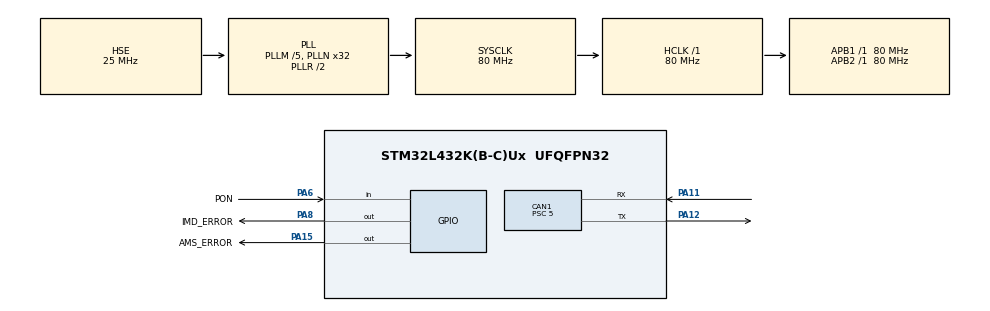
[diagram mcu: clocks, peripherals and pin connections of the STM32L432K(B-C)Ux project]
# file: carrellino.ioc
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CAN1.ABOM=ENABLE
CAN1.BS1=CAN_BS1_13TQ
CAN1.BS2=CAN_BS2_2TQ
CAN1.CalculateBaudRate=1000000
CAN1.CalculateTimeBit=1000
CAN1.CalculateTimeQuantum=62.5
CAN1.Prescaler=5
Mcu.Family=STM32L4
Mcu.Name=STM32L432K(B-C)Ux
Mcu.Package=UFQFPN32
NVIC.PriorityGroup=NVIC_PRIORITYGROUP_4
PA0.Mode=HSE-External-Clock-Source-for-LittleOrca
PA0.Signal=RCC_CK_IN
PA11.Mode=CAN_Activate
PA11.Signal=CAN1_RX
PA12.Mode=CAN_Activate
PA12.Signal=CAN1_TX
PA15\ (JTDI).GPIO_Label=AMS_ERROR
PA15\ (JTDI).Signal=GPIO_Output
PA6.GPIO_Label=PON
PA6.Signal=GPIO_Input
PA8.GPIO_Label=IMD_ERROR
PA8.Signal=GPIO_Output
ProjectManager.HeapSize=0x200
ProjectManager.StackSize=0x400
ProjectManager.TargetToolchain=Makefile
RCC.ADCFreq_Value=20000000
RCC.AHBFreq_Value=80000000
RCC.APB1Freq_Value=80000000
RCC.APB1TimFreq_Value=80000000
RCC.APB2Freq_Value=80000000
RCC.APB2TimFreq_Value=80000000
RCC.CortexFreq_Value=80000000
RCC.HCLKFreq_Value=80000000
RCC.HSE_VALUE=25000000
RCC.HSI48_VALUE=48000000
RCC.HSI_VALUE=16000000
RCC.LSE_VALUE=32768
RCC.MSI_VALUE=4000000
RCC.PLLM=5
RCC.PLLN=32
RCC.PLLSourceVirtual=RCC_PLLSOURCE_HSE
RCC.SYSCLKFreq_VALUE=80000000
RCC.SYSCLKSource=RCC_SYSCLKSOURCE_PLLCLK
RCC.USBFreq_Value=20000000
RCC.VCOOutputFreq_Value=160000000
board=custom

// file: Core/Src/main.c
/* USER CODE BEGIN Header */
/**
 ******************************************************************************
 * @file           : main.c
 * @brief          : Main program body
 ******************************************************************************
 * @attention
 *
 * Copyright (c) 2023 STMicroelectronics.
 * All rights reserved.
 *
 * This software is licensed under terms that can be found in the LICENSE file
 * in the root directory of this software component.
 * If no LICENSE file comes with this software, it is provided AS-IS.
 *
 ******************************************************************************
 */
/* USER CODE END Header */
#include "main.h"
#include "can.h"
#include "gpio.h"

/* USER CODE BEGIN Includes */
#include "nlg5_brusa.h"
#include "sdc_can_pwt_db_v1_0.h"
#include "tlb_battery.h"
#include <stdbool.h>

/* USER CODE END Includes */

void SystemClock_Config(void);

int main(void)
{

    /* MCU Configuration--------------------------------------------------------*/

    /* Reset of all peripherals, Initializes the Flash interface and the Systick. */
    HAL_Init();

    /* Configure the system clock */
    SystemClock_Config();

    /* Initialize all configured peripherals */
    MX_GPIO_Init();
    MX_CAN1_Init();
    /* USER CODE BEGIN 2 */
    HAL_CAN_Start(&hcan1);

    bool charging = 1;
    float maxvolt = 0;
    float maxcurr = 0;
    uint32_t mailbox;
    uint32_t time = 0;
    HAL_GPIO_WritePin(AMS_ERROR_GPIO_Port, AMS_ERROR_Pin, 1);
    HAL_GPIO_WritePin(IMD_ERROR_GPIO_Port, IMD_ERROR_Pin, 1);
    /* USER CODE END 2 */

    /* Infinite loop */
    /* USER CODE BEGIN WHILE */
    while (1)
    {
        CAN_RxHeaderTypeDef rxmsg;
        uint8_t data[8] = {0};

        if (HAL_CAN_GetRxFifoFillLevel(&hcan1, CAN_RX_FIFO0))
        {
            if (HAL_CAN_GetRxMessage(&hcan1, CAN_RX_FIFO0, &rxmsg, data) == HAL_OK)
            {
                if (rxmsg.StdId == SDC_CAN_PWT_DB_V1_0_FBMS_CHARGE_FRAME_ID && rxmsg.DLC == SDC_CAN_PWT_DB_V1_0_FBMS_CHARGE_LENGTH)
                {
                    struct sdc_can_pwt_db_v1_0_fbms_charge_t status;
                    sdc_can_pwt_db_v1_0_fbms_charge_unpack(&status, data, rxmsg.DLC);

                    // charging = sdc_can_pwt_db_v1_0_fbms_charge_fbms_charge_sts_decode(status.fbms_charge_sts);
                    maxvolt = sdc_can_pwt_db_v1_0_fbms_charge_fbms_charge_max_volt_decode(status.fbms_charge_max_volt);
                    maxcurr = sdc_can_pwt_db_v1_0_fbms_charge_fbms_charge_max_curr_decode(status.fbms_charge_max_curr);
                }
                else if (rxmsg.StdId == TLB_BATTERY_TLB_BAT_INTRNL_FUNC_FRAME_ID && rxmsg.DLC == TLB_BATTERY_TLB_BAT_INTRNL_FUNC_LENGTH)
                {
                    struct tlb_battery_tlb_bat_intrnl_func_t status;
                    tlb_battery_tlb_bat_intrnl_func_unpack(&status, data, rxmsg.DLC);

                    HAL_GPIO_WritePin(AMS_ERROR_GPIO_Port, AMS_ERROR_Pin, tlb_battery_tlb_bat_intrnl_func_ams_err_ltch_decode(status.ams_err_ltch));
                    HAL_GPIO_WritePin(IMD_ERROR_GPIO_Port, IMD_ERROR_Pin, tlb_battery_tlb_bat_intrnl_func_imd_err_ltch_decode(status.imd_err_ltch));
                }
            }
        }

        if (HAL_GetTick() - time > 100)
        {
            charging = HAL_GPIO_ReadPin(PON_GPIO_Port, PON_Pin);

            struct nlg5_brusa_nlg5_ctl_t brusa;
            brusa.nlg5_c_c_en = nlg5_brusa_nlg5_ctl_nlg5_c_c_en_encode(charging);
            brusa.nlg5_mc_max = nlg5_brusa_nlg5_ctl_nlg5_mc_max_encode(16);
            brusa.nlg5_ov_com = nlg5_brusa_nlg5_ctl_nlg5_ov_com_encode(maxvolt);
            brusa.nlg5_oc_com = nlg5_brusa_nlg5_ctl_nlg5_oc_com_encode(maxcurr);

            CAN_TxHeaderTypeDef txh = {.DLC = NLG5_BRUSA_NLG5_CTL_LENGTH, .StdId = NLG5_BRUSA_NLG5_CTL_FRAME_ID};
            nlg5_brusa_nlg5_ctl_pack(data, &brusa, NLG5_BRUSA_NLG5_CTL_LENGTH);
            HAL_CAN_AddTxMessage(&hcan1, &txh, data, &mailbox);
            time = HAL_GetTick();
        }

        /* USER CODE END WHILE */

    }
}

void SystemClock_Config(void)
{
    RCC_OscInitTypeDef RCC_OscInitStruct = {0};
    RCC_ClkInitTypeDef RCC_ClkInitStruct = {0};

    /** Configure the main internal regulator output voltage
     */
    if (HAL_PWREx_ControlVoltageScaling(PWR_REGULATOR_VOLTAGE_SCALE1) != HAL_OK)
    {
        Error_Handler();
    }

    /** Initializes the RCC Oscillators according to the specified parameters
     * in the RCC_OscInitTypeDef structure.
     */
    RCC_OscInitStruct.OscillatorType = RCC_OSCILLATORTYPE_HSE;
    RCC_OscInitStruct.HSEState = RCC_HSE_BYPASS;
    RCC_OscInitStruct.PLL.PLLState = RCC_PLL_ON;
    RCC_OscInitStruct.PLL.PLLSource = RCC_PLLSOURCE_HSE;
    RCC_OscInitStruct.PLL.PLLM = 5;
    RCC_OscInitStruct.PLL.PLLN = 32;
    RCC_OscInitStruct.PLL.PLLP = RCC_PLLP_DIV7;
    RCC_OscInitStruct.PLL.PLLQ = RCC_PLLQ_DIV2;
    RCC_OscInitStruct.PLL.PLLR = RCC_PLLR_DIV2;
    if (HAL_RCC_OscConfig(&RCC_OscInitStruct) != HAL_OK)
    {
        Error_Handler();
    }

    /** Initializes the CPU, AHB and APB buses clocks
     */
    RCC_ClkInitStruct.ClockType = RCC_CLOCKTYPE_HCLK | RCC_CLOCKTYPE_SYSCLK | RCC_CLOCKTYPE_PCLK1 | RCC_CLOCKTYPE_PCLK2;
    RCC_ClkInitStruct.SYSCLKSource = RCC_SYSCLKSOURCE_PLLCLK;
    RCC_ClkInitStruct.AHBCLKDivider = RCC_SYSCLK_DIV1;
    RCC_ClkInitStruct.APB1CLKDivider = RCC_HCLK_DIV1;
    RCC_ClkInitStruct.APB2CLKDivider = RCC_HCLK_DIV1;

    if (HAL_RCC_ClockConfig(&RCC_ClkInitStruct, FLASH_LATENCY_4) != HAL_OK)
    {
        Error_Handler();
    }
}

void Error_Handler(void)
{
    __disable_irq();
    while (1)
    {
    }
}
